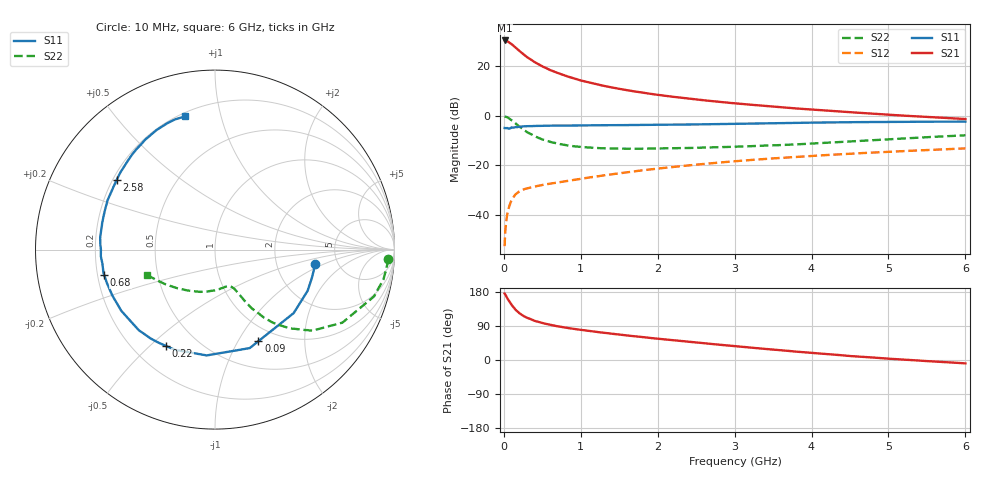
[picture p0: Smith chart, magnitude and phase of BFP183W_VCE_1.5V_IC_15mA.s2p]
! Infineon Technologies  Discrete & RF Semiconductors
! BFP183W
! VCE = 1.5 V,  IC =  15 mA
! Common Emitter S-Parameters:  Jan 2016
# GHz  S  MA  R  50
!  f  S11  S21  S12  S22
! GHz  MAG  ANG  MAG  ANG  MAG  ANG  MAG  ANG
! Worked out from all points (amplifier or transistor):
!   210 points, 10 MHz to 6 GHz, reference 50 ohm
!   highest |S21| = 30.5 dB at 10 MHz (marker M1)
!   |S21| within 3 dB of that: start of sweep to 158.2 MHz
!   unconditionally stable (mu >= 1): 968.5 MHz to 5.389 GHz
!   at 185 MHz: K = 0.30, MSG = 28.9 dB, |S12| = -31.0 dB
!   at 1.52 GHz: K = 1.15, MAG = 14.6 dB, |S12| = -23.2 dB
!   at 6 GHz: K = 0.98, MSG = 5.9 dB, |S12| = -13.2 dB
!   S11 on the Smith chart (normalised r, x): 10 MHz: 3.40, -0.78; 90 MHz: 0.82, -1.22; 220 MHz: 0.33, -0.56; 680 MHz: 0.23, -0.11; 2.58 GHz: 0.22, +0.30; 6 GHz: 0.22, +0.78
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0.01  0.5647 -8.0  33.36 175.4  0.0023 87.0  0.9676 -3.2
0.03  0.5648 -24.0  33.13 168.6  0.0071 82.0  0.9531 -10.0
0.05  0.5633 -38.9  32 161.2  0.0114 73.3  0.9237 -16.4
0.09  0.5645 -64.6  28.86 148.9  0.018 63.6  0.8356 -26.9
0.1  0.5819 -70.6  28.31 145.4  0.0197 62.2  0.8185 -29.8
0.15  0.5914 -94.5  24.25 132.8  0.0256 54.1  0.7057 -39.8
0.2  0.6016 -111.9  20.63 123.7  0.0293 48.0  0.6074 -46.3
0.22  0.6022 -116.9  19.46 121.2  0.0304 46.6  0.5761 -48.1
0.26  0.6114 -126.1  17.3 115.8  0.0325 44.4  0.5177 -51.7
0.3  0.618 -133.4  15.42 111.4  0.0339 42.9  0.4681 -54.2
0.4  0.6236 -146.8  12.16 103.3  0.0369 40.5  0.385 -58.0
0.5  0.6266 -155.9  9.991 97.4  0.0398 41.4  0.3316 -59.9
0.68  0.6336 -167.2  7.554 89.7  0.0442 43.0  0.2774 -61.9
0.8  0.6322 -172.8  6.43 85.4  0.0475 44.3  0.2548 -63.0
1.02  0.6364 179.4  5.09 79.1  0.0535 46.7  0.2326 -65.1
1.4  0.6432 168.9  3.747 69.4  0.0653 49.6  0.2178 -69.7
2.02  0.6586 155.2  2.626 55.8  0.086 51.4  0.2178 -79.9
2.58  0.671 144.8  2.072 44.5  0.1053 50.5  0.2273 -90.6
3.1  0.6897 135.9  1.731 34.8  0.1235 48.4  0.2391 -102.3
4.1  0.7279 121.2  1.304 17.4  0.1572 43.1  0.2785 -126.0
5.1  0.7533 110.1  1.026 2.3  0.1898 37.0  0.3409 -146.2
6  0.7608 102.5  0.859 -8.9  0.2187 31.5  0.4022 -159.5
